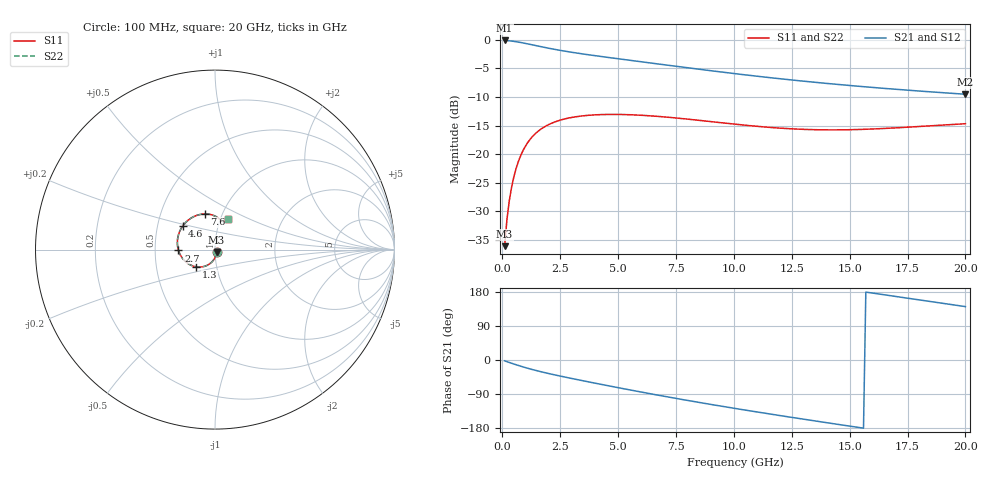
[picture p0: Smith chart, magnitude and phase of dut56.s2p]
! Touchstone file exported from HFSS 2023.1.0
!  File:  D:/Users/fzz/RDL_TSV/temp_RDL_TSV_56_1778745832.aedt
!  Generated:  4:10:56 %x4E0B%x5348  5%x6708 14, 2026
!  Design:  RDL_TSV
!  Project:  temp_RDL_TSV_56_1778745832
!  Setup:  Setup1
!  Solution:  Sweep
! Variables:
!  dtsv = 17.92um
!  hbump = 3um
!  htsv = 94.42um
!  ldown = 557.71um
!  lrdl = 250.12um
!  p = 40
!  p1 = 44.04um
!  rhole = 10um
!  subl = 2673.61um
!  t = 450um
!  tdown = 4.75um
!  trdl = 3.65um
!  viad = 10um
!  wdown = 24.11um
!  wrdl = 26.67um
!  xbump = 18um
# GHz S MA R 50.000000
! Terminal data exported
! Port[1] = TM1_1_T1
! Port[2] = TM1_4_T1
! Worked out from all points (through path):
!   200 points, 100 MHz to 20 GHz, reference 50 ohm
!   highest |S21| = -0.09 dB at 100 MHz (marker M1); lowest = -9.5 dB at 20 GHz (marker M2)
!   group delay of S21, straight-line fit = 28.9 ps
!   lowest |S11| = -36.1 dB at 100 MHz (marker M3), VSWR 1.03, Z = 50.9 - j1.31 ohm
!   |S11| at or under -10 dB: start of sweep to end of sweep
!   |S22| runs from -36.1 to -13.0 dB; largest |S21 - S12| = 1.5e-14
!   S11 on the Smith chart (normalised r, x): 100 MHz: 1.02, -0.03; 1.3 GHz: 0.80, -0.16; 2.7 GHz: 0.66, -0.01; 4.6 GHz: 0.67, +0.18; 7.6 GHz: 0.83, +0.34; 20 GHz: 1.09, +0.38
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0.1  0.01564 -55.6  0.9894 -2.2  0.9894 -2.2  0.01564 -55.6
! Gamma 0 0 0 0
! Port Impedance 50 0 50 0
0.2  0.02667 -75.7  0.9865 -4.4  0.9865 -4.4  0.02667 -75.7
0.3  0.03875 -86.3  0.9823 -6.5  0.9823 -6.5  0.03877 -86.3
0.4  0.05112 -93.9  0.9773 -8.6  0.9773 -8.6  0.05114 -93.9
0.5  0.06341 -100.3  0.9713 -10.6  0.9713 -10.6  0.06343 -100.3
0.6  0.07538 -106.1  0.9646 -12.6  0.9646 -12.6  0.0754 -106.1
0.8  0.09773 -116.4  0.9493 -16.5  0.9493 -16.5  0.09774 -116.4
1  0.1175 -125.6  0.9322 -20.1  0.9322 -20.1  0.1175 -125.6
1.3  0.1422 -137.7  0.9053 -25.2  0.9053 -25.2  0.1423 -137.6
1.9  0.1771 -157.6  0.8537 -34.3  0.8537 -34.3  0.1771 -157.6
2.7  0.2035 -178.7  0.7974 -45.0  0.7974 -45.0  0.2036 -178.7
3.5  0.2167 164.0  0.7526 -55.0  0.7526 -55.0  0.2167 164.0
4.6  0.2228 144.3  0.7013 -68.3  0.7013 -68.3  0.2228 144.3
5.7  0.2206 127.9  0.6556 -81.2  0.6556 -81.2  0.2206 127.9
6.8  0.2135 114.2  0.6133 -93.6  0.6133 -93.6  0.2134 114.2
7.6  0.2065 105.8  0.5843 -102.4  0.5843 -102.4  0.2064 105.8
8.8  0.1948 95.5  0.5441 -115.1  0.5441 -115.1  0.1947 95.5
10.1  0.1825 87.3  0.5052 -128.3  0.5052 -128.3  0.1824 87.2
11.7  0.1705 80.7  0.464 -143.9  0.464 -143.9  0.1704 80.7
13.4  0.1638 76.9  0.4276 -159.8  0.4276 -159.8  0.1637 76.8
16.7  0.1686 72.5  0.3737 170.2  0.3737 170.2  0.1683 72.4
20  0.1846 66.4  0.3346 140.9  0.3346 140.9  0.1843 66.3
